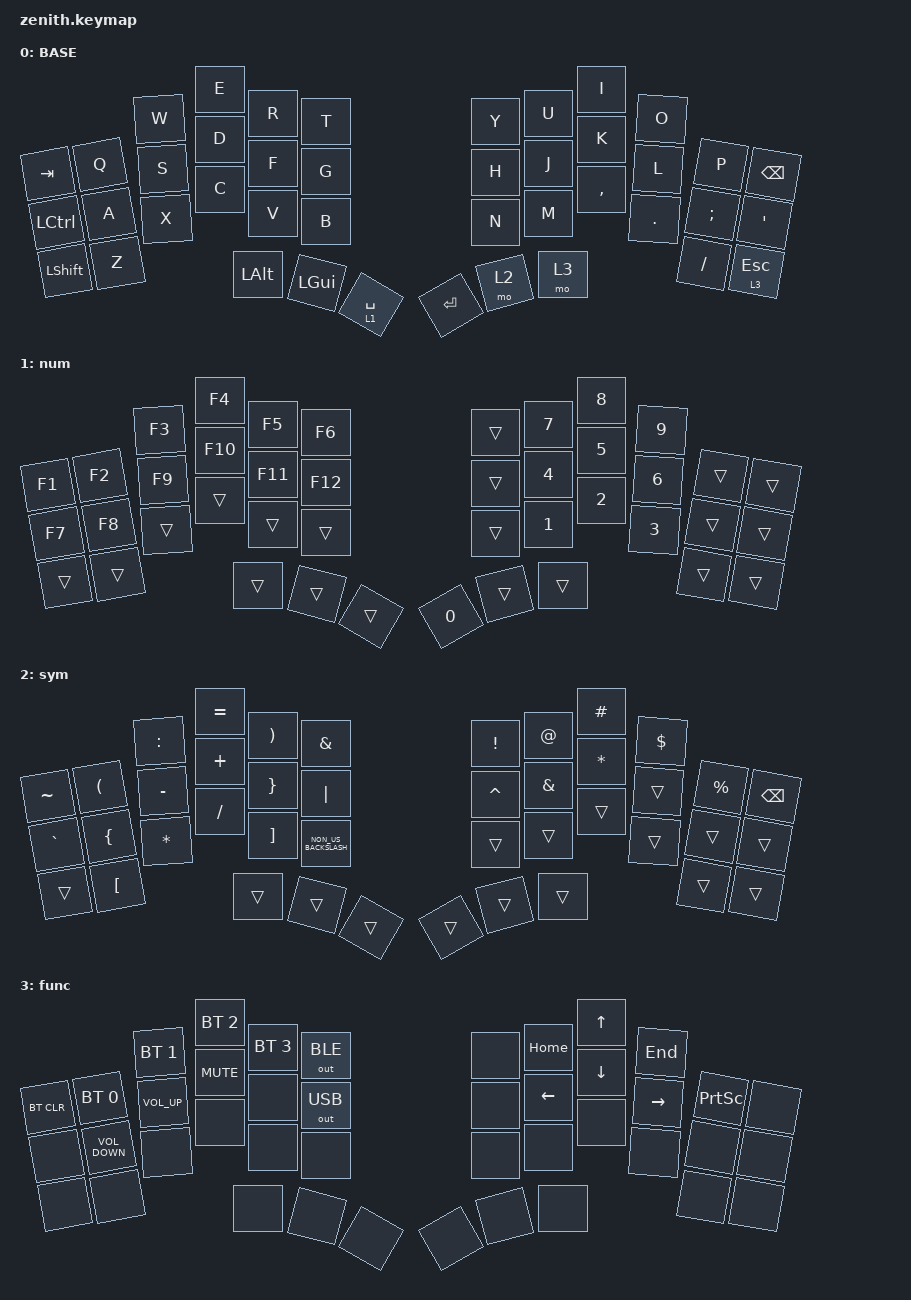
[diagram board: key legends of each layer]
//
//                                                        ▀▀▀▀▀     ▀▀▀▀▀          ▀▀█▀▀
//                                                        ▄▀▀▀▄  ▄  ▄▀▀▀▄  ▄  ▄▀▀▀▄  █  ▄▀▀▀▄
//                                                        █   █  █  █   █  █  █   █  █  █   █
//                                                         ▀▀▀   █   ▀▀▀   █   ▀▀▀   ▀   ▀▀▀
//                                                               █      ▄▄▄█▄▄▄    █   █  
//                                                               ▀      █  █  █     █▄█
//                                                             ▀▀▀▀▀    █  █  █      ▀
//                                                                      ▀  ▀  ▀
//
// ▄▄▄▄▄▄▄▄▄▄▄▄▄▄▄▄▄▄▄▄▄▄▄▄▄▄▄▄▄▄▄▄▄▄▄▄▄▄▄▄▄▄▄▄▄▄▄▄▄▄▄▄▄▄▄▄▄▄▄▄▄▄▄▄▄▄▄▄▄▄▄▄▄▄▄▄▄▄▄▄▄▄▄▄▄▄▄▄▄▄▄▄▄▄▄▄▄▄▄▄▄▄▄▄▄▄▄▄▄▄▄▄▄▄▄▄▄▄▄▄▄▄▄▄▄▄▄▄▄▄▄▄▄▄▄▄▄▄▄▄▄▄▄▄▄▄▄▄▄

#include <behaviors.dtsi>
#include <dt-bindings/zmk/bt.h>
#include <dt-bindings/zmk/keys.h>
#include <dt-bindings/zmk/outputs.h>

#define BASE 0
#define NAV  1
#define SYM  2
#define ADJ  3

&mt {
    quick-tap-ms = <175>;
    flavor = "balanced";
    tapping-term-ms = <280>;
    require-prior-idle-ms = <150>;
};

/ {
    conditional_layers {
        compatible = "zmk,conditional-layers";

        adjust_layer {
            if-layers = <1 1>;
            then-layer = <1>;
        };
    };

    combos {
        compatible = "zmk,combos";

        combo_esc {
            timeout-ms = <50>;
            key-positions = <19 20>;
            bindings = <&kp ESC>;
        };
    };

    keymap {
        compatible = "zmk,keymap";

        // ▄▄▄▄▄▄▄▄▄▄▄▄▄▄▄▄▄▄▄▄▄▄▄▄▄▄▄▄▄▄▄▄▄▄▄▄▄▄▄▄▄▄▄▄▄▄▄▄▄▄▄▄▄▄▄▄▄▄▄▄▄▄▄▄▄▄▄▄▄▄▄▄▄▄▄▄▄▄▄▄▄▄▄▄▄▄▄▄▄▄▄▄▄▄▄▄▄▄▄▄▄▄▄▄▄▄▄▄▄▄▄▄▄▄▄▄▄▄▄▄▄▄▄▄▄▄▄▄▄▄▄▄▄▄▄▄▄▄▄▄▄▄▄▄▄▄▄▄▄

        base {
            // ┏━━━━━━━━━━━━━━━━━━━━━━━━━━━━━━━━━━━━━━━┓

            label = "BASE";

            // ┗━━━━━━━━━━━━━━━━━━━━━━━━━━━━━━━━━━━━━━━┛

            bindings = <
&kp TAB  &kp Q  &kp W  &kp E  &kp R  &kp T  &kp Y  &kp U  &kp I  &kp O  &kp P  &kp BSPC  &kp LCTRL  &kp A  &kp S  &kp D  &kp F  &kp G  &kp H  &kp J  &kp K  &kp L  &kp SEMI  &kp SQT  &kp LSHIFT  &kp Z  &kp X  &kp C  &kp V  &kp B  &kp N  &kp M  &kp COMMA  &kp DOT  &kp FSLH  &lt 3 ESC  &kp LALT  &kp LGUI  &lt 1 SPACE  &kp ENTER  &mo 2  &mo 3
            >;
        };

        // ▄▄▄▄▄▄▄▄▄▄▄▄▄▄▄▄▄▄▄▄▄▄▄▄▄▄▄▄▄▄▄▄▄▄▄▄▄▄▄▄▄▄▄▄▄▄▄▄▄▄▄▄▄▄▄▄▄▄▄▄▄▄▄▄▄▄▄▄▄▄▄▄▄▄▄▄▄▄▄▄▄▄▄▄▄▄▄▄▄▄▄▄▄▄▄▄▄▄▄▄▄▄▄▄▄▄▄▄▄▄▄▄▄▄▄▄▄▄▄▄▄▄▄▄▄▄▄▄▄▄▄▄▄▄▄▄▄▄▄▄▄▄▄▄▄▄▄▄▄
        // ▄▄▄▄▄▄▄▄▄▄▄▄▄▄▄▄▄▄▄▄▄▄▄▄▄▄▄▄▄▄▄▄▄▄▄▄▄▄▄▄▄▄▄▄▄▄▄▄▄▄▄▄▄▄▄▄▄▄▄▄▄▄▄▄▄▄▄▄▄▄▄▄▄▄▄▄▄▄▄▄▄▄▄▄▄▄▄▄▄▄▄▄▄▄▄▄▄▄▄▄▄▄▄▄▄▄▄▄▄▄▄▄▄▄▄▄▄▄▄▄▄▄▄▄▄▄▄▄▄▄▄▄▄▄▄▄▄▄▄▄▄▄▄▄▄▄▄▄▄
        // ▄▄▄▄▄▄▄▄▄▄▄▄▄▄▄▄▄▄▄▄▄▄▄▄▄▄▄▄▄▄▄▄▄▄▄▄▄▄▄▄▄▄▄▄▄▄▄▄▄▄▄▄▄▄▄▄▄▄▄▄▄▄▄▄▄▄▄▄▄▄▄▄▄▄▄▄▄▄▄▄▄▄▄▄▄▄▄▄▄▄▄▄▄▄▄▄▄▄▄▄▄▄▄▄▄▄▄▄▄▄▄▄▄▄▄▄▄▄▄▄▄▄▄▄▄▄▄▄▄▄▄▄▄▄▄▄▄▄▄▄▄▄▄▄▄▄▄▄▄

        num {
            bindings = <
&kp F1  &kp F2  &kp F3  &kp F4  &kp F5  &kp F6  &trans  &kp N7  &kp N8  &kp N9  &trans  &trans  &kp F7  &kp F8  &kp F9  &kp F10  &kp F11  &kp F12  &trans  &kp NUMBER_4  &kp N5  &kp NUMBER_6  &trans  &trans  &trans  &trans  &trans  &trans  &trans  &trans  &trans  &kp NUMBER_1  &kp NUMBER_2  &kp NUMBER_3  &trans  &trans  &trans  &trans  &trans  &kp N0  &trans  &trans
            >;
        };

        sym {
            bindings = <
&kp TILDE  &kp LEFT_PARENTHESIS  &kp COLON  &kp EQUAL  &kp RIGHT_PARENTHESIS  &kp AMPERSAND  &kp EXCLAMATION  &kp AT_SIGN  &kp HASH  &kp DOLLAR  &kp PERCENT  &kp BACKSPACE  &kp GRAVE  &kp LEFT_BRACE  &kp MINUS  &kp PLUS  &kp RIGHT_BRACE  &kp PIPE  &kp CARET  &kp AMPERSAND  &kp ASTERISK  &trans  &trans  &trans  &trans  &kp LEFT_BRACKET  &kp ASTERISK  &kp SLASH  &kp RIGHT_BRACKET  &kp NON_US_BACKSLASH  &trans  &trans  &trans  &trans  &trans  &trans  &trans  &trans  &trans  &trans  &trans  &trans
            >;
        };

        func {
            bindings = <
&bt BT_CLR  &bt BT_SEL 0  &bt BT_SEL 1  &bt BT_SEL 2  &bt BT_SEL 3  &out OUT_BLE  &none  &kp HOME  &kp UP_ARROW  &kp END  &kp PRINTSCREEN  &none  &none  &kp C_VOLUME_DOWN  &kp C_VOLUME_UP  &kp C_MUTE  &none  &out OUT_USB  &none  &kp LEFT_ARROW  &kp DOWN  &kp RIGHT_ARROW  &none  &none  &none  &none  &none  &none  &none  &none  &none  &none  &none  &none  &none  &none  &none  &none  &none  &none  &none  &none
            >;
        };
    };
};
